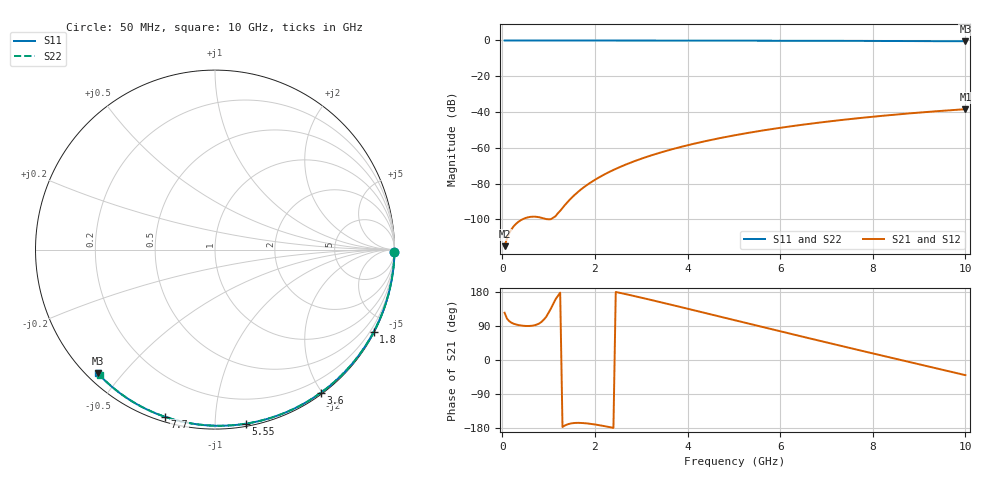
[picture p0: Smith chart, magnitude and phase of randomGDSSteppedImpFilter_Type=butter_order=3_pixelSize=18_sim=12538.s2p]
! freq	dB(S11)	phase(S11)	dB(S12)	phase(S12)
!  dB(S21)	phase(S21)	dB(S22)	phase(S22)
!S-par simulation data
#  GHz  S  DB  R 50
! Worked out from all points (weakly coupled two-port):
!   200 points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, 50 MHz to 10 GHz, reference 50 ohm
!   highest |S21| = -38.44 dB at 10 GHz (marker M1); lowest = -115.0 dB at 50 MHz (marker M2)
!   lowest |S11| = -0.5 dB at 10 GHz (marker M3), VSWR 38.53, Z = 1.54 - j21.5 ohm
!   |S11| at or under -10 dB: nowhere
!   |S22| runs from -0.4 to 0.0 dB; largest |S21 - S12| = 0
!   S11 on the Smith chart (normalised r, x): 50 MHz: open; 1.8 GHz: 0.04, -4.11; 3.6 GHz: 0.02, -1.99; 5.55 GHz: 0.02, -1.20; 7.7 GHz: 0.02, -0.75; 10 GHz: 0.03, -0.43
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0.05  -0.00 -0.8  -115.03 124.6  -115.03 124.6  -0.00 -0.8
0.9  -0.02 -13.8  -99.57 107.0  -99.57 107.0  -0.02 -13.7
1.75  -0.03 -26.6  -82.30 -166.5  -82.30 -166.5  -0.03 -26.4
1.8  -0.03 -27.3  -81.34 -167.0  -81.34 -167.0  -0.03 -27.2
1.85  -0.04 -28.1  -80.43 -167.6  -80.43 -167.6  -0.04 -27.9
1.9  -0.04 -28.8  -79.56 -168.4  -79.56 -168.4  -0.04 -28.6
2.05  -0.04 -31.1  -77.14 -171.1  -77.14 -171.1  -0.04 -30.8
2.25  -0.04 -34.0  -74.31 -175.5  -74.31 -175.5  -0.04 -33.8
2.45  -0.05 -36.9  -71.80 179.5  -71.80 179.5  -0.05 -36.7
2.65  -0.05 -39.9  -69.57 174.3  -69.57 174.3  -0.05 -39.6
3  -0.06 -44.9  -66.14 164.6  -66.14 164.6  -0.06 -44.6
3.4  -0.07 -50.6  -62.80 153.0  -62.80 153.0  -0.07 -50.3
3.6  -0.07 -53.5  -61.30 147.2  -61.30 147.2  -0.07 -53.1
4.3  -0.09 -63.2  -56.79 126.5  -56.79 126.5  -0.09 -62.7
5.05  -0.11 -73.3  -52.87 104.1  -52.87 104.1  -0.11 -72.8
5.55  -0.13 -79.8  -50.64 89.2  -50.64 89.2  -0.13 -79.3
6.1  -0.15 -86.9  -48.48 72.9  -48.48 72.9  -0.15 -86.3
6.7  -0.18 -94.4  -46.39 55.2  -46.39 55.2  -0.18 -93.8
7.7  -0.24 -106.6  -43.43 26.1  -43.43 26.1  -0.24 -105.9
8.35  -0.29 -114.3  -41.79 7.3  -41.79 7.3  -0.29 -113.6
9.15  -0.36 -123.6  -40.02 -15.6  -40.02 -15.6  -0.36 -122.8
10  -0.45 -133.4  -38.44 -40.0  -38.44 -40.0  -0.45 -132.6
